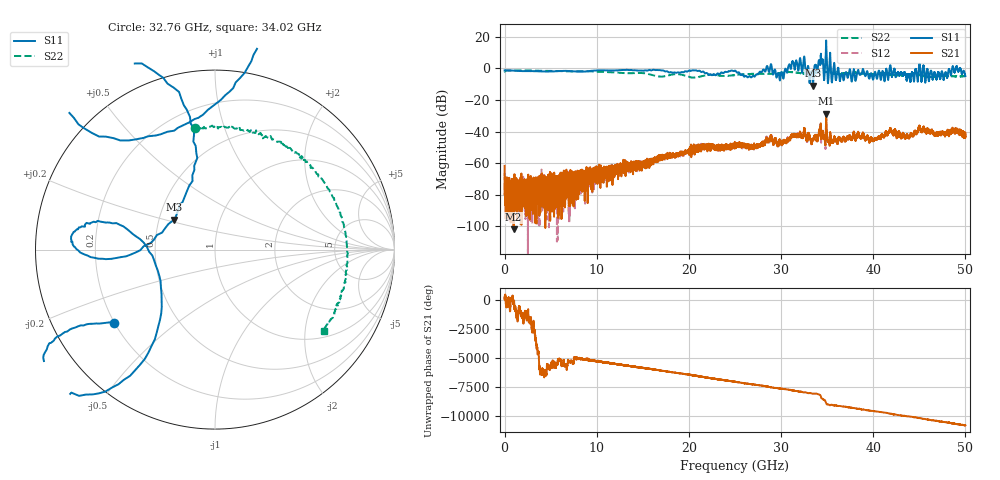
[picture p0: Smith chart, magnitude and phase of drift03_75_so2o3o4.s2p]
!Created with skrf (http://scikit-rf.org).
# Hz S RI R 50.0
!freq ReS11 ImS11 ReS21 ImS21 ReS12 ImS12 ReS22 ImS22
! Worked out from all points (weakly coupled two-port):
!   10001 points, 300 kHz to 50 GHz, reference 50 ohm
!   highest |S21| = -28.70 dB at 34.89 GHz (marker M1); lowest = -101.7 dB at 980.3 MHz (marker M2)
!   lowest |S11| = -11.0 dB at 33.47 GHz (marker M3), VSWR 1.79, Z = 30 + j10.9 ohm
!   |S11| at or under -10 dB: 33.44872 GHz to 33.47963 GHz (30.91 MHz wide, 0.0924 % of centre)
!   |S22| runs from -5.9 to -1.3 dB; largest |S21 - S12| = 0.01
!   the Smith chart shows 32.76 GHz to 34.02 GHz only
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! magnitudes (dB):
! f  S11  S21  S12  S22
! 300 kHz  -1.3  -61.7  -66.2  -2.0
! 310.3 MHz  -1.3  -88.9  -76.7  -1.4
! 980.3 MHz  -1.5  -101.7  -83.1  -1.5
! 5.765 GHz  -1.9  -81.7  -73.5  -1.7
! 8.335 GHz  -2.2  -66.8  -72.2  -1.9
! 16.67 GHz  -1.1  -57.5  -57.6  -5.2
! 25 GHz  -1.5  -47.7  -49.4  -4.3
! 26.92 GHz  -4.9  -49.3  -49.5  -3.5
! 28.72 GHz  -2.3  -46.1  -45.6  -3.6
! 30.06 GHz  -2.5  -48.3  -47.8  -2.8
! 31.87 GHz  -1.4  -42.3  -42.0  -2.9
! 33.34 GHz  -2.2  -47.5  -47.5  -2.9
! 33.47 GHz  -11.0  -44.6  -45.2  -2.8
! 34.29 GHz  6.1  -35.4  -35.4  -2.3
! 34.89 GHz  17.6  -28.7  -31.3  -2.3
! 36.58 GHz  -3.5  -45.9  -45.9  -3.6
! 40.17 GHz  -2.5  -44.0  -44.2  -3.7
! 41.67 GHz  -5.4  -40.5  -40.5  -3.7
! 43.84 GHz  -3.6  -43.0  -43.4  -3.8
! 45.2 GHz  -7.1  -39.6  -39.3  -4.4
! 49.21 GHz  -2.1  -40.6  -41.3  -5.1
! 50 GHz  -4.9  -42.9  -42.3  -5.0
